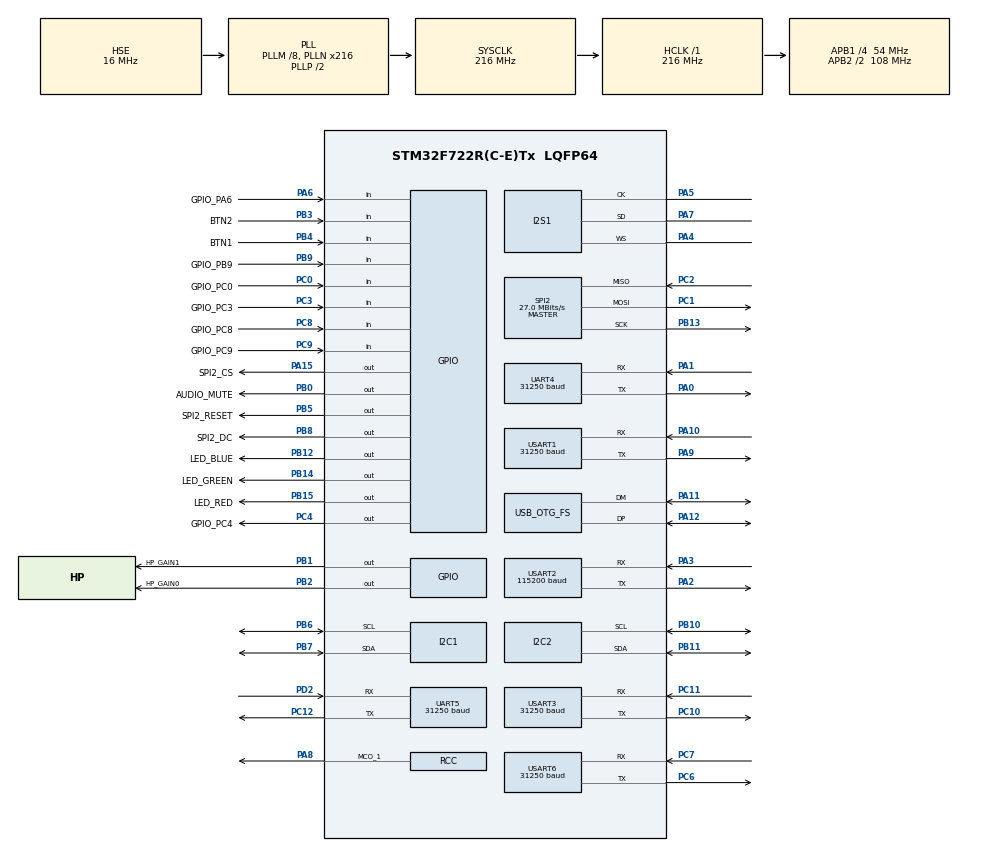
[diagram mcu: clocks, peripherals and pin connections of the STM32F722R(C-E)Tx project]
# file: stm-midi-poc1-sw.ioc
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CORTEX_M7.ART_ACCELERATOR_ENABLE=0
CORTEX_M7.AccessPermission_S-Cortex_Memory_Protection_Unit_Region1_Settings_S=MPU_REGION_FULL_ACCESS
CORTEX_M7.AccessPermission_S-Cortex_Memory_Protection_Unit_Region2_Settings_S=MPU_REGION_FULL_ACCESS
CORTEX_M7.AccessPermission_Spec=MPU_REGION_FULL_ACCESS
CORTEX_M7.BaseAddress_S-Cortex_Memory_Protection_Unit_Region1_Settings_S=0x08000000
CORTEX_M7.BaseAddress_S-Cortex_Memory_Protection_Unit_Region2_Settings_S=0x20030000
CORTEX_M7.BaseAddress_Spec=0x20000000
CORTEX_M7.CPU_DCache=Enabled
CORTEX_M7.CPU_ICache=Enabled
CORTEX_M7.DisableExec_S-Cortex_Memory_Protection_Unit_Region2_Settings_S=MPU_INSTRUCTION_ACCESS_DISABLE
CORTEX_M7.DisableExec_Spec=MPU_INSTRUCTION_ACCESS_ENABLE
CORTEX_M7.Enable_S-Cortex_Memory_Protection_Unit_Region1_Settings_S=MPU_REGION_ENABLE
CORTEX_M7.Enable_S-Cortex_Memory_Protection_Unit_Region2_Settings_S=MPU_REGION_ENABLE
CORTEX_M7.IsCacheable_S-Cortex_Memory_Protection_Unit_Region1_Settings_S=MPU_ACCESS_CACHEABLE
CORTEX_M7.IsCacheable_Spec=MPU_ACCESS_CACHEABLE
CORTEX_M7.MPU_Control=MPU_PRIVILEGED_DEFAULT
CORTEX_M7.PREFETCH_ENABLE=1
CORTEX_M7.Size_S-Cortex_Memory_Protection_Unit_Region1_Settings_S=MPU_REGION_SIZE_256MB
CORTEX_M7.Size_S-Cortex_Memory_Protection_Unit_Region2_Settings_S=MPU_REGION_SIZE_64KB
CORTEX_M7.Size_Spec=MPU_REGION_SIZE_512MB
CORTEX_M7.SubRegionDisable_Spec=0x00
CORTEX_M7.default_mode_Activation=1
Dma.Request0=SPI1_TX
Dma.Request1=SPI2_TX
Dma.Request2=USART2_RX
Dma.Request3=USART6_RX
Dma.Request4=USART2_TX
Dma.Request5=USART1_RX
Dma.Request6=USART1_TX
Dma.Request7=USART3_RX
Dma.Request8=USART3_TX
Dma.Request9=USART6_TX
Dma.SPI1_TX.0.Direction=DMA_MEMORY_TO_PERIPH
Dma.SPI1_TX.0.FIFOMode=DMA_FIFOMODE_DISABLE
Dma.SPI1_TX.0.Instance=DMA2_Stream3
Dma.SPI1_TX.0.MemDataAlignment=DMA_MDATAALIGN_HALFWORD
Dma.SPI1_TX.0.MemInc=DMA_MINC_ENABLE
Dma.SPI1_TX.0.Mode=DMA_CIRCULAR
Dma.SPI1_TX.0.PeriphDataAlignment=DMA_PDATAALIGN_HALFWORD
Dma.SPI1_TX.0.PeriphInc=DMA_PINC_DISABLE
Dma.SPI1_TX.0.Priority=DMA_PRIORITY_VERY_HIGH
Dma.SPI2_TX.1.Direction=DMA_MEMORY_TO_PERIPH
Dma.SPI2_TX.1.FIFOMode=DMA_FIFOMODE_DISABLE
Dma.SPI2_TX.1.Instance=DMA1_Stream4
Dma.SPI2_TX.1.MemDataAlignment=DMA_MDATAALIGN_BYTE
Dma.SPI2_TX.1.MemInc=DMA_MINC_ENABLE
Dma.SPI2_TX.1.Mode=DMA_NORMAL
Dma.SPI2_TX.1.PeriphDataAlignment=DMA_PDATAALIGN_BYTE
Dma.SPI2_TX.1.PeriphInc=DMA_PINC_DISABLE
Dma.SPI2_TX.1.Priority=DMA_PRIORITY_MEDIUM
Dma.USART1_RX.5.Direction=DMA_PERIPH_TO_MEMORY
Dma.USART1_RX.5.FIFOMode=DMA_FIFOMODE_DISABLE
Dma.USART1_RX.5.Instance=DMA2_Stream2
Dma.USART1_RX.5.MemDataAlignment=DMA_MDATAALIGN_BYTE
Dma.USART1_RX.5.MemInc=DMA_MINC_ENABLE
Dma.USART1_RX.5.Mode=DMA_CIRCULAR
Dma.USART1_RX.5.PeriphDataAlignment=DMA_PDATAALIGN_BYTE
Dma.USART1_RX.5.PeriphInc=DMA_PINC_DISABLE
Dma.USART1_RX.5.Priority=DMA_PRIORITY_MEDIUM
Dma.USART1_TX.6.Direction=DMA_MEMORY_TO_PERIPH
Dma.USART1_TX.6.FIFOMode=DMA_FIFOMODE_DISABLE
Dma.USART1_TX.6.Instance=DMA2_Stream7
Dma.USART1_TX.6.MemDataAlignment=DMA_MDATAALIGN_BYTE
Dma.USART1_TX.6.MemInc=DMA_MINC_ENABLE
Dma.USART1_TX.6.Mode=DMA_NORMAL
Dma.USART1_TX.6.PeriphDataAlignment=DMA_PDATAALIGN_BYTE
Dma.USART1_TX.6.PeriphInc=DMA_PINC_DISABLE
Dma.USART1_TX.6.Priority=DMA_PRIORITY_MEDIUM
Dma.USART2_RX.2.Direction=DMA_PERIPH_TO_MEMORY
Dma.USART2_RX.2.FIFOMode=DMA_FIFOMODE_DISABLE
Dma.USART2_RX.2.Instance=DMA1_Stream5
Dma.USART2_RX.2.MemDataAlignment=DMA_MDATAALIGN_BYTE
Dma.USART2_RX.2.MemInc=DMA_MINC_ENABLE
Dma.USART2_RX.2.Mode=DMA_CIRCULAR
Dma.USART2_RX.2.PeriphDataAlignment=DMA_PDATAALIGN_BYTE
Dma.USART2_RX.2.PeriphInc=DMA_PINC_DISABLE
Dma.USART2_RX.2.Priority=DMA_PRIORITY_LOW
Dma.USART2_TX.4.Direction=DMA_MEMORY_TO_PERIPH
Dma.USART2_TX.4.FIFOMode=DMA_FIFOMODE_DISABLE
Dma.USART2_TX.4.Instance=DMA1_Stream6
Dma.USART2_TX.4.MemDataAlignment=DMA_MDATAALIGN_BYTE
Dma.USART2_TX.4.MemInc=DMA_MINC_ENABLE
Dma.USART2_TX.4.Mode=DMA_NORMAL
Dma.USART2_TX.4.PeriphDataAlignment=DMA_PDATAALIGN_BYTE
Dma.USART2_TX.4.PeriphInc=DMA_PINC_DISABLE
Dma.USART2_TX.4.Priority=DMA_PRIORITY_LOW
Dma.USART3_RX.7.Direction=DMA_PERIPH_TO_MEMORY
Dma.USART3_RX.7.FIFOMode=DMA_FIFOMODE_DISABLE
Dma.USART3_RX.7.Instance=DMA1_Stream1
Dma.USART3_RX.7.MemDataAlignment=DMA_MDATAALIGN_BYTE
Dma.USART3_RX.7.MemInc=DMA_MINC_ENABLE
Dma.USART3_RX.7.Mode=DMA_CIRCULAR
Dma.USART3_RX.7.PeriphDataAlignment=DMA_PDATAALIGN_BYTE
Dma.USART3_RX.7.PeriphInc=DMA_PINC_DISABLE
Dma.USART3_RX.7.Priority=DMA_PRIORITY_MEDIUM
Dma.USART3_TX.8.Direction=DMA_MEMORY_TO_PERIPH
Dma.USART3_TX.8.FIFOMode=DMA_FIFOMODE_DISABLE
Dma.USART3_TX.8.Instance=DMA1_Stream3
Dma.USART3_TX.8.MemDataAlignment=DMA_MDATAALIGN_BYTE
Dma.USART3_TX.8.MemInc=DMA_MINC_ENABLE
Dma.USART3_TX.8.Mode=DMA_NORMAL
Dma.USART3_TX.8.PeriphDataAlignment=DMA_PDATAALIGN_BYTE
Dma.USART3_TX.8.PeriphInc=DMA_PINC_DISABLE
Dma.USART3_TX.8.Priority=DMA_PRIORITY_MEDIUM
Dma.USART6_RX.3.Direction=DMA_PERIPH_TO_MEMORY
Dma.USART6_RX.3.FIFOMode=DMA_FIFOMODE_DISABLE
Dma.USART6_RX.3.Instance=DMA2_Stream1
Dma.USART6_RX.3.MemDataAlignment=DMA_MDATAALIGN_BYTE
Dma.USART6_RX.3.MemInc=DMA_MINC_ENABLE
Dma.USART6_RX.3.Mode=DMA_CIRCULAR
Dma.USART6_RX.3.PeriphDataAlignment=DMA_PDATAALIGN_BYTE
Dma.USART6_RX.3.PeriphInc=DMA_PINC_DISABLE
Dma.USART6_RX.3.Priority=DMA_PRIORITY_LOW
Dma.USART6_TX.9.Direction=DMA_MEMORY_TO_PERIPH
Dma.USART6_TX.9.FIFOMode=DMA_FIFOMODE_DISABLE
Dma.USART6_TX.9.Instance=DMA2_Stream6
Dma.USART6_TX.9.MemDataAlignment=DMA_MDATAALIGN_BYTE
Dma.USART6_TX.9.MemInc=DMA_MINC_ENABLE
Dma.USART6_TX.9.Mode=DMA_NORMAL
Dma.USART6_TX.9.PeriphDataAlignment=DMA_PDATAALIGN_BYTE
Dma.USART6_TX.9.PeriphInc=DMA_PINC_DISABLE
Dma.USART6_TX.9.Priority=DMA_PRIORITY_LOW
I2C1.Timing=0x20404768
I2C2.Timing=0x20404768
I2S1.AudioFreq=I2S_AUDIOFREQ_32K
I2S1.DataFormat=I2S_DATAFORMAT_16B
I2S1.ErrorAudioFreq=-0.26 %
I2S1.FullDuplexMode=I2S_FULLDUPLEXMODE_DISABLE
I2S1.Instance=SPI$Index
I2S1.RealAudioFreq=31.914 KHz
I2S1.VirtualMode=I2S_MODE_MASTER
Mcu.Family=STM32F7
Mcu.Name=STM32F722R(C-E)Tx
Mcu.Package=LQFP64
NVIC.DMA1_Stream1_IRQn=true\:2\:0\:true\:false\:true\:false\:true\:true
NVIC.DMA1_Stream3_IRQn=true\:2\:0\:true\:false\:true\:false\:true\:true
NVIC.DMA1_Stream4_IRQn=true\:3\:0\:true\:false\:true\:false\:true\:true
NVIC.DMA1_Stream5_IRQn=true\:2\:0\:true\:false\:true\:false\:true\:true
NVIC.DMA1_Stream6_IRQn=true\:2\:0\:true\:false\:true\:false\:true\:true
NVIC.DMA2_Stream1_IRQn=true\:2\:0\:true\:false\:true\:false\:true\:true
NVIC.DMA2_Stream2_IRQn=true\:2\:0\:true\:false\:true\:false\:true\:true
NVIC.DMA2_Stream3_IRQn=true\:0\:0\:true\:false\:true\:false\:true\:true
NVIC.DMA2_Stream6_IRQn=true\:0\:0\:false\:false\:true\:false\:true\:true
NVIC.DMA2_Stream7_IRQn=true\:0\:0\:false\:false\:true\:false\:true\:true
NVIC.OTG_FS_IRQn=true\:0\:0\:false\:false\:true\:false\:true\:true
NVIC.PriorityGroup=NVIC_PRIORITYGROUP_4
NVIC.SPI2_IRQn=true\:3\:0\:true\:false\:true\:true\:true\:true
NVIC.TIM6_DAC_IRQn=true\:15\:0\:true\:false\:true\:false\:true\:true
NVIC.TimeBase=TIM6_DAC_IRQn
NVIC.TimeBaseIP=TIM6
NVIC.UART4_IRQn=true\:4\:0\:true\:false\:true\:true\:true\:true
NVIC.UART5_IRQn=true\:5\:0\:true\:false\:true\:true\:true\:true
PA0-WKUP.Mode=Asynchronous
PA0-WKUP.Signal=UART4_TX
PA1.Mode=Asynchronous
PA1.Signal=UART4_RX
PA10.Mode=Asynchronous
PA10.Signal=USART1_RX
PA11.Mode=Device_Only
PA11.Signal=USB_OTG_FS_DM
PA12.Mode=Device_Only
PA12.Signal=USB_OTG_FS_DP
PA13.Mode=Serial_Wire
PA13.Signal=SYS_JTMS-SWDIO
PA14.Mode=Serial_Wire
PA14.Signal=SYS_JTCK-SWCLK
PA15.GPIO_Label=SPI2_CS
PA15.GPIO_Speed=GPIO_SPEED_FREQ_LOW
PA15.Signal=GPIO_Output
PA2.Mode=Asynchronous
PA2.Signal=USART2_TX
PA3.Mode=Asynchronous
PA3.Signal=USART2_RX
PA4.Mode=Half_Duplex_Master
PA4.Signal=I2S1_WS
PA5.Mode=Half_Duplex_Master
PA5.Signal=I2S1_CK
PA6.GPIO_Label=GPIO_PA6
PA6.Signal=GPIO_Input
PA7.Mode=Half_Duplex_Master
PA7.Signal=I2S1_SD
PA8.Mode=Clock-out-1
PA8.Signal=RCC_MCO_1
PA9.Mode=Asynchronous
PA9.Signal=USART1_TX
PB0.GPIO_Label=AUDIO_MUTE
PB0.Signal=GPIO_Output
PB1.GPIO_Label=HP_GAIN1
PB1.Signal=GPIO_Output
PB10.Mode=I2C
PB10.Signal=I2C2_SCL
PB11.Mode=I2C
PB11.Signal=I2C2_SDA
PB12.GPIO_Label=LED_BLUE
PB12.Signal=GPIO_Output
PB13.Mode=Full_Duplex_Master
PB13.Signal=SPI2_SCK
PB14.GPIO_Label=LED_GREEN
PB14.Signal=GPIO_Output
PB15.GPIO_Label=LED_RED
PB15.Signal=GPIO_Output
PB2.GPIO_Label=HP_GAIN0
PB2.Signal=GPIO_Output
PB3.GPIO_Label=BTN2
PB3.Signal=GPIO_Input
PB4.GPIO_Label=BTN1
PB4.Signal=GPIO_Input
PB5.GPIO_Label=SPI2_RESET
PB5.GPIO_Speed=GPIO_SPEED_FREQ_LOW
PB5.Signal=GPIO_Output
PB6.Mode=I2C
PB6.Signal=I2C1_SCL
PB7.Mode=I2C
PB7.Signal=I2C1_SDA
PB8.GPIO_Label=SPI2_DC
PB8.GPIO_Speed=GPIO_SPEED_FREQ_LOW
PB8.Signal=GPIO_Output
PB9.GPIO_Label=GPIO_PB9
PB9.Signal=GPIO_Input
PC0.GPIO_Label=GPIO_PC0
PC0.Signal=GPIO_Input
PC1.Mode=Full_Duplex_Master
PC1.Signal=SPI2_MOSI
PC10.Mode=Asynchronous
PC10.Signal=USART3_TX
PC11.Mode=Asynchronous
PC11.Signal=USART3_RX
PC12.Mode=Asynchronous
PC12.Signal=UART5_TX
PC13.Mode=SYS_WakeUp3
PC13.Signal=SYS_WKUP4
PC14-OSC32_IN.Mode=LSE-External-Oscillator
PC14-OSC32_IN.Signal=RCC_OSC32_IN
PC15-OSC32_OUT.Mode=LSE-External-Oscillator
PC15-OSC32_OUT.Signal=RCC_OSC32_OUT
PC2.Mode=Full_Duplex_Master
PC2.Signal=SPI2_MISO
PC3.GPIO_Label=GPIO_PC3
PC3.Signal=GPIO_Input
PC4.GPIO_Label=GPIO_PC4
PC4.Signal=GPIO_Output
PC6.Mode=Asynchronous
PC6.Signal=USART6_TX
PC7.Mode=Asynchronous
PC7.Signal=USART6_RX
PC8.GPIO_Label=GPIO_PC8
PC8.Signal=GPIO_Input
PC9.GPIO_Label=GPIO_PC9
PC9.Signal=GPIO_Input
PD2.Mode=Asynchronous
PD2.Signal=UART5_RX
PH0-OSC_IN.Mode=HSE-External-Oscillator
PH0-OSC_IN.Signal=RCC_OSC_IN
PH1-OSC_OUT.Mode=HSE-External-Oscillator
PH1-OSC_OUT.Signal=RCC_OSC_OUT
ProjectManager.HeapSize=0x200
ProjectManager.StackSize=0x400
ProjectManager.TargetToolchain=STM32CubeIDE
RCC.AHBFreq_Value=216000000
RCC.APB1CLKDivider=RCC_HCLK_DIV4
RCC.APB1Freq_Value=54000000
RCC.APB1TimFreq_Value=108000000
RCC.APB2CLKDivider=RCC_HCLK_DIV2
RCC.APB2Freq_Value=108000000
RCC.APB2TimFreq_Value=216000000
RCC.CortexFreq_Value=216000000
RCC.HCLKFreq_Value=216000000
RCC.HSE_VALUE=16000000
RCC.HSI_VALUE=16000000
RCC.PLLM=8
RCC.PLLN=216
RCC.PLLQ=9
RCC.RTCClockSelection=RCC_RTCCLKSOURCE_LSE
RCC.SYSCLKFreq_VALUE=216000000
RCC.SYSCLKSource=RCC_SYSCLKSOURCE_PLLCLK
RCC.USBFreq_Value=48000000
RCC.VCOOutputFreq_Value=432000000
SPI2.BaudRatePrescaler=SPI_BAUDRATEPRESCALER_2
SPI2.CalculateBaudRate=27.0 MBits/s
SPI2.DataSize=SPI_DATASIZE_8BIT
SPI2.Direction=SPI_DIRECTION_2LINES
SPI2.Mode=SPI_MODE_MASTER
SPI2.NSSPMode=SPI_NSS_PULSE_ENABLE
SPI2.VirtualType=VM_MASTER
UART4.BaudRate=31250
UART5.BaudRate=31250
USART1.BaudRate=31250
USART1.DataInvertParam=ADVFEATURE_DATAINV_DISABLE
USART1.RxPinLevelInvertParam=ADVFEATURE_RXINV_DISABLE
USART1.SwapParam=ADVFEATURE_SWAP_DISABLE
USART1.TxPinLevelInvertParam=ADVFEATURE_TXINV_DISABLE
USART1.VirtualMode-Asynchronous=VM_ASYNC
USART2.BaudRate=115200
USART2.VirtualMode-Asynchronous=VM_ASYNC
USART3.BaudRate=31250
USART3.VirtualMode-Asynchronous=VM_ASYNC
USART6.BaudRate=31250
USART6.VirtualMode=VM_ASYNC
USB_DEVICE.CLASS_NAME_FS=HID
USB_DEVICE.USBD_SELF_POWERED-HID_FS=0
USB_DEVICE.VirtualMode-HID_FS=Hid
USB_DEVICE.VirtualModeFS=Hid_FS
USB_OTG_FS.VirtualMode=Device_Only
USB_OTG_FS.battery_charging_enable=DISABLE
USB_OTG_FS.low_power_enable=DISABLE
USB_OTG_FS.lpm_enable=DISABLE
VP_RTC_VS_RTC_Activate.Mode=RTC_Enabled
VP_SYS_VS_tim6.Mode=TIM6
VP_USB_DEVICE_VS_USB_DEVICE_HID_FS.Mode=HID_FS
board=custom

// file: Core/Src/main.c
/* USER CODE BEGIN Header */
/**
  ******************************************************************************
  * @file           : main.c
  * @brief          : Main program body
  ******************************************************************************
  * @attention
  *
  * Copyright (c) 2024 STMicroelectronics.
  * All rights reserved.
  *
  * This software is licensed under terms that can be found in the LICENSE file
  * in the root directory of this software component.
  * If no LICENSE file comes with this software, it is provided AS-IS.
  *
  ******************************************************************************
  */
/* USER CODE END Header */
#include "main.h"
#include "usb_device.h"

/* USER CODE BEGIN Includes */
#include "realmain.h"
#include "frmain.h"
#include "usbmain.h"
#include "spimain.h"
#include "spidma.h"

extern void uartrxdmamain(void);

/* USER CODE END Includes */

I2C_HandleTypeDef hi2c1;
I2C_HandleTypeDef hi2c2;

I2S_HandleTypeDef hi2s1;
DMA_HandleTypeDef hdma_spi1_tx;

RTC_HandleTypeDef hrtc;

SPI_HandleTypeDef hspi2;
DMA_HandleTypeDef hdma_spi2_tx;

/* USER CODE BEGIN PV */

// huart1 = MIDI 1
// huart2 = Serial Console

// Our SPI interface structure
spidma_config_t spi2tx;

/* USER CODE END PV */

void SystemClock_Config(void);
static void MPU_Config(void);
static void MX_GPIO_Init(void);
static void MX_DMA_Init(void);
static void MX_I2C2_Init(void);
static void MX_I2S1_Init(void);
static void MX_SPI2_Init(void);
static void MX_UART4_Init(void);
static void MX_UART5_Init(void);
static void MX_USART1_UART_Init(void);
static void MX_USART2_UART_Init(void);
static void MX_USART3_UART_Init(void);
static void MX_USART6_UART_Init(void);
static void MX_I2C1_Init(void);
static void MX_RTC_Init(void);

/* USER CODE BEGIN 0 */

void reinit_uarts() {
  MX_USART1_UART_Init();
  MX_USART2_UART_Init();
  MX_USART3_UART_Init();
  MX_USART6_UART_Init();
}

/* USER CODE END 0 */

int main(void)
{

  /* MPU Configuration--------------------------------------------------------*/
  MPU_Config();

  /* Enable the CPU Cache */

  /* Enable I-Cache---------------------------------------------------------*/
  SCB_EnableICache();

  /* Enable D-Cache---------------------------------------------------------*/
  SCB_EnableDCache();

  /* MCU Configuration--------------------------------------------------------*/

  /* Reset of all peripherals, Initializes the Flash interface and the Systick. */
  HAL_Init();

  /* Configure the system clock */
  SystemClock_Config();

  /* Initialize all configured peripherals */
  MX_GPIO_Init();
  MX_DMA_Init();
  MX_I2C2_Init();
  MX_I2S1_Init();
  MX_SPI2_Init();
  MX_UART4_Init();
  MX_UART5_Init();
  MX_USART1_UART_Init();
  MX_USART2_UART_Init();
  MX_USART3_UART_Init();
  MX_USART6_UART_Init();
  MX_I2C1_Init();
  MX_RTC_Init();
  MX_USB_DEVICE_Init();

  /* Infinite loop */
  /* USER CODE BEGIN WHILE */

#ifdef TEST_SPI
  spimain(); // Test SPI
#endif

#ifdef TEST_UARTRXDMARECEIVE
  uartrxdmamain();
#endif

  usbmain(); // USB testing
  frmain(); // FreeRTOS version (does not return)
  realmain(); // Leave pre-generated code and move to DPF's code

  while (1)
  {
    /* USER CODE END WHILE */

    /* USER CODE BEGIN 3 */
    // SMOKE TEST
    GPIO_PinState btn1, btn2;

    btn1 = HAL_GPIO_ReadPin(BTN1_GPIO_Port, BTN1_Pin);
    btn2 = HAL_GPIO_ReadPin(BTN2_GPIO_Port, BTN2_Pin);

    HAL_GPIO_TogglePin(LED_GREEN_GPIO_Port, LED_GREEN_Pin);
    if (btn1) {
      HAL_GPIO_TogglePin(LED_RED_GPIO_Port, LED_RED_Pin);
    }
    if (btn2) {
      // Blue LED was out of stock, so I got Yellow
      HAL_GPIO_TogglePin(LED_BLUE_GPIO_Port, LED_BLUE_Pin);
    }
    HAL_Delay(250);

  }
  /* USER CODE END 3 */
}

void SystemClock_Config(void)
{
  RCC_OscInitTypeDef RCC_OscInitStruct = {0};
  RCC_ClkInitTypeDef RCC_ClkInitStruct = {0};

  /** Configure LSE Drive Capability
  */
  HAL_PWR_EnableBkUpAccess();
  __HAL_RCC_LSEDRIVE_CONFIG(RCC_LSEDRIVE_LOW);

  /** Configure the main internal regulator output voltage
  */
  __HAL_RCC_PWR_CLK_ENABLE();
  __HAL_PWR_VOLTAGESCALING_CONFIG(PWR_REGULATOR_VOLTAGE_SCALE1);

  /** Initializes the RCC Oscillators according to the specified parameters
  * in the RCC_OscInitTypeDef structure.
  */
  RCC_OscInitStruct.OscillatorType = RCC_OSCILLATORTYPE_HSI|RCC_OSCILLATORTYPE_HSE
                              |RCC_OSCILLATORTYPE_LSE;
  RCC_OscInitStruct.HSEState = RCC_HSE_ON;
  RCC_OscInitStruct.LSEState = RCC_LSE_ON;
  RCC_OscInitStruct.HSIState = RCC_HSI_ON;
  RCC_OscInitStruct.HSICalibrationValue = RCC_HSICALIBRATION_DEFAULT;
  RCC_OscInitStruct.PLL.PLLState = RCC_PLL_ON;
  RCC_OscInitStruct.PLL.PLLSource = RCC_PLLSOURCE_HSE;
  RCC_OscInitStruct.PLL.PLLM = 8;
  RCC_OscInitStruct.PLL.PLLN = 216;
  RCC_OscInitStruct.PLL.PLLP = RCC_PLLP_DIV2;
  RCC_OscInitStruct.PLL.PLLQ = 9;
  if (HAL_RCC_OscConfig(&RCC_OscInitStruct) != HAL_OK)
  {
    Error_Handler();
  }

  /** Activate the Over-Drive mode
  */
  if (HAL_PWREx_EnableOverDrive() != HAL_OK)
  {
    Error_Handler();
  }

  /** Initializes the CPU, AHB and APB buses clocks
  */
  RCC_ClkInitStruct.ClockType = RCC_CLOCKTYPE_HCLK|RCC_CLOCKTYPE_SYSCLK
                              |RCC_CLOCKTYPE_PCLK1|RCC_CLOCKTYPE_PCLK2;
  RCC_ClkInitStruct.SYSCLKSource = RCC_SYSCLKSOURCE_PLLCLK;
  RCC_ClkInitStruct.AHBCLKDivider = RCC_SYSCLK_DIV1;
  RCC_ClkInitStruct.APB1CLKDivider = RCC_HCLK_DIV4;
  RCC_ClkInitStruct.APB2CLKDivider = RCC_HCLK_DIV2;

  if (HAL_RCC_ClockConfig(&RCC_ClkInitStruct, FLASH_LATENCY_7) != HAL_OK)
  {
    Error_Handler();
  }
  HAL_RCC_MCOConfig(RCC_MCO1, RCC_MCO1SOURCE_HSI, RCC_MCODIV_1);
}

static void MX_I2C1_Init(void)
{

  hi2c1.Instance = I2C1;
  hi2c1.Init.Timing = 0x20404768;
  hi2c1.Init.OwnAddress1 = 0;
  hi2c1.Init.AddressingMode = I2C_ADDRESSINGMODE_7BIT;
  hi2c1.Init.DualAddressMode = I2C_DUALADDRESS_DISABLE;
  hi2c1.Init.OwnAddress2 = 0;
  hi2c1.Init.OwnAddress2Masks = I2C_OA2_NOMASK;
  hi2c1.Init.GeneralCallMode = I2C_GENERALCALL_DISABLE;
  hi2c1.Init.NoStretchMode = I2C_NOSTRETCH_DISABLE;
  if (HAL_I2C_Init(&hi2c1) != HAL_OK)
  {
    Error_Handler();
  }

  /** Configure Analogue filter
  */
  if (HAL_I2CEx_ConfigAnalogFilter(&hi2c1, I2C_ANALOGFILTER_ENABLE) != HAL_OK)
  {
    Error_Handler();
  }

  /** Configure Digital filter
  */
  if (HAL_I2CEx_ConfigDigitalFilter(&hi2c1, 0) != HAL_OK)
  {
    Error_Handler();
  }

}

static void MX_I2C2_Init(void)
{

  hi2c2.Instance = I2C2;
  hi2c2.Init.Timing = 0x20404768;
  hi2c2.Init.OwnAddress1 = 0;
  hi2c2.Init.AddressingMode = I2C_ADDRESSINGMODE_7BIT;
  hi2c2.Init.DualAddressMode = I2C_DUALADDRESS_DISABLE;
  hi2c2.Init.OwnAddress2 = 0;
  hi2c2.Init.OwnAddress2Masks = I2C_OA2_NOMASK;
  hi2c2.Init.GeneralCallMode = I2C_GENERALCALL_DISABLE;
  hi2c2.Init.NoStretchMode = I2C_NOSTRETCH_DISABLE;
  if (HAL_I2C_Init(&hi2c2) != HAL_OK)
  {
    Error_Handler();
  }

  /** Configure Analogue filter
  */
  if (HAL_I2CEx_ConfigAnalogFilter(&hi2c2, I2C_ANALOGFILTER_ENABLE) != HAL_OK)
  {
    Error_Handler();
  }

  /** Configure Digital filter
  */
  if (HAL_I2CEx_ConfigDigitalFilter(&hi2c2, 0) != HAL_OK)
  {
    Error_Handler();
  }

}

static void MX_I2S1_Init(void)
{

  hi2s1.Instance = SPI1;
  hi2s1.Init.Mode = I2S_MODE_MASTER_TX;
  hi2s1.Init.Standard = I2S_STANDARD_PHILIPS;
  hi2s1.Init.DataFormat = I2S_DATAFORMAT_16B;
  hi2s1.Init.MCLKOutput = I2S_MCLKOUTPUT_DISABLE;
  hi2s1.Init.AudioFreq = I2S_AUDIOFREQ_32K;
  hi2s1.Init.CPOL = I2S_CPOL_LOW;
  hi2s1.Init.ClockSource = I2S_CLOCK_PLL;
  if (HAL_I2S_Init(&hi2s1) != HAL_OK)
  {
    Error_Handler();
  }

}

static void MX_RTC_Init(void)
{

  /** Initialize RTC Only
  */
  hrtc.Instance = RTC;
  hrtc.Init.HourFormat = RTC_HOURFORMAT_24;
  hrtc.Init.AsynchPrediv = 127;
  hrtc.Init.SynchPrediv = 255;
  hrtc.Init.OutPut = RTC_OUTPUT_DISABLE;
  hrtc.Init.OutPutPolarity = RTC_OUTPUT_POLARITY_HIGH;
  hrtc.Init.OutPutType = RTC_OUTPUT_TYPE_OPENDRAIN;
  if (HAL_RTC_Init(&hrtc) != HAL_OK)
  {
    Error_Handler();
  }

}

static void MX_SPI2_Init(void)
{

  /* SPI2 parameter configuration*/
  hspi2.Instance = SPI2;
  hspi2.Init.Mode = SPI_MODE_MASTER;
  hspi2.Init.Direction = SPI_DIRECTION_2LINES;
  hspi2.Init.DataSize = SPI_DATASIZE_8BIT;
  hspi2.Init.CLKPolarity = SPI_POLARITY_LOW;
  hspi2.Init.CLKPhase = SPI_PHASE_1EDGE;
  hspi2.Init.NSS = SPI_NSS_SOFT;
  hspi2.Init.BaudRatePrescaler = SPI_BAUDRATEPRESCALER_2;
  hspi2.Init.FirstBit = SPI_FIRSTBIT_MSB;
  hspi2.Init.TIMode = SPI_TIMODE_DISABLE;
  hspi2.Init.CRCCalculation = SPI_CRCCALCULATION_DISABLE;
  hspi2.Init.CRCPolynomial = 7;
  hspi2.Init.CRCLength = SPI_CRC_LENGTH_DATASIZE;
  hspi2.Init.NSSPMode = SPI_NSS_PULSE_ENABLE;
  if (HAL_SPI_Init(&hspi2) != HAL_OK)
  {
    Error_Handler();
  }

}

static void MX_UART4_Init(void)
{

  LL_USART_InitTypeDef USART_InitStruct = {0};

  LL_GPIO_InitTypeDef GPIO_InitStruct = {0};
  RCC_PeriphCLKInitTypeDef PeriphClkInitStruct = {0};

  /** Initializes the peripherals clock
  */
  PeriphClkInitStruct.PeriphClockSelection = RCC_PERIPHCLK_UART4;
  PeriphClkInitStruct.Uart4ClockSelection = RCC_UART4CLKSOURCE_PCLK1;
  if (HAL_RCCEx_PeriphCLKConfig(&PeriphClkInitStruct) != HAL_OK)
  {
    Error_Handler();
  }

  /* Peripheral clock enable */
  LL_APB1_GRP1_EnableClock(LL_APB1_GRP1_PERIPH_UART4);

  LL_AHB1_GRP1_EnableClock(LL_AHB1_GRP1_PERIPH_GPIOA);
  /**UART4 GPIO Configuration
  PA0-WKUP   ------> UART4_TX
  PA1   ------> UART4_RX
  */
  GPIO_InitStruct.Pin = LL_GPIO_PIN_0;
  GPIO_InitStruct.Mode = LL_GPIO_MODE_ALTERNATE;
  GPIO_InitStruct.Speed = LL_GPIO_SPEED_FREQ_VERY_HIGH;
  GPIO_InitStruct.OutputType = LL_GPIO_OUTPUT_PUSHPULL;
  GPIO_InitStruct.Pull = LL_GPIO_PULL_NO;
  GPIO_InitStruct.Alternate = LL_GPIO_AF_8;
  LL_GPIO_Init(GPIOA, &GPIO_InitStruct);

  GPIO_InitStruct.Pin = LL_GPIO_PIN_1;
  GPIO_InitStruct.Mode = LL_GPIO_MODE_ALTERNATE;
  GPIO_InitStruct.Speed = LL_GPIO_SPEED_FREQ_VERY_HIGH;
  GPIO_InitStruct.OutputType = LL_GPIO_OUTPUT_PUSHPULL;
  GPIO_InitStruct.Pull = LL_GPIO_PULL_NO;
  GPIO_InitStruct.Alternate = LL_GPIO_AF_8;
  LL_GPIO_Init(GPIOA, &GPIO_InitStruct);

  /* UART4 interrupt Init */
  NVIC_SetPriority(UART4_IRQn, NVIC_EncodePriority(NVIC_GetPriorityGrouping(),4, 0));
  NVIC_EnableIRQ(UART4_IRQn);

  USART_InitStruct.BaudRate = 31250;
  USART_InitStruct.DataWidth = LL_USART_DATAWIDTH_8B;
  USART_InitStruct.StopBits = LL_USART_STOPBITS_1;
  USART_InitStruct.Parity = LL_USART_PARITY_NONE;
  USART_InitStruct.TransferDirection = LL_USART_DIRECTION_TX_RX;
  USART_InitStruct.HardwareFlowControl = LL_USART_HWCONTROL_NONE;
  USART_InitStruct.OverSampling = LL_USART_OVERSAMPLING_16;
  LL_USART_Init(UART4, &USART_InitStruct);
  LL_USART_ConfigAsyncMode(UART4);
  LL_USART_Enable(UART4);

}

static void MX_UART5_Init(void)
{

  LL_USART_InitTypeDef USART_InitStruct = {0};

  LL_GPIO_InitTypeDef GPIO_InitStruct = {0};
  RCC_PeriphCLKInitTypeDef PeriphClkInitStruct = {0};

  /** Initializes the peripherals clock
  */
  PeriphClkInitStruct.PeriphClockSelection = RCC_PERIPHCLK_UART5;
  PeriphClkInitStruct.Uart5ClockSelection = RCC_UART5CLKSOURCE_PCLK1;
  if (HAL_RCCEx_PeriphCLKConfig(&PeriphClkInitStruct) != HAL_OK)
  {
    Error_Handler();
  }

  /* Peripheral clock enable */
  LL_APB1_GRP1_EnableClock(LL_APB1_GRP1_PERIPH_UART5);

  LL_AHB1_GRP1_EnableClock(LL_AHB1_GRP1_PERIPH_GPIOC);
  LL_AHB1_GRP1_EnableClock(LL_AHB1_GRP1_PERIPH_GPIOD);
  /**UART5 GPIO Configuration
  PC12   ------> UART5_TX
  PD2   ------> UART5_RX
  */
  GPIO_InitStruct.Pin = LL_GPIO_PIN_12;
  GPIO_InitStruct.Mode = LL_GPIO_MODE_ALTERNATE;
  GPIO_InitStruct.Speed = LL_GPIO_SPEED_FREQ_VERY_HIGH;
  GPIO_InitStruct.OutputType = LL_GPIO_OUTPUT_PUSHPULL;
  GPIO_InitStruct.Pull = LL_GPIO_PULL_NO;
  GPIO_InitStruct.Alternate = LL_GPIO_AF_8;
  LL_GPIO_Init(GPIOC, &GPIO_InitStruct);

  GPIO_InitStruct.Pin = LL_GPIO_PIN_2;
  GPIO_InitStruct.Mode = LL_GPIO_MODE_ALTERNATE;
  GPIO_InitStruct.Speed = LL_GPIO_SPEED_FREQ_VERY_HIGH;
  GPIO_InitStruct.OutputType = LL_GPIO_OUTPUT_PUSHPULL;
  GPIO_InitStruct.Pull = LL_GPIO_PULL_NO;
  GPIO_InitStruct.Alternate = LL_GPIO_AF_8;
  LL_GPIO_Init(GPIOD, &GPIO_InitStruct);

  /* UART5 interrupt Init */
  NVIC_SetPriority(UART5_IRQn, NVIC_EncodePriority(NVIC_GetPriorityGrouping(),5, 0));
  NVIC_EnableIRQ(UART5_IRQn);

  USART_InitStruct.BaudRate = 31250;
  USART_InitStruct.DataWidth = LL_USART_DATAWIDTH_8B;
  USART_InitStruct.StopBits = LL_USART_STOPBITS_1;
  USART_InitStruct.Parity = LL_USART_PARITY_NONE;
  USART_InitStruct.TransferDirection = LL_USART_DIRECTION_TX_RX;
  USART_InitStruct.HardwareFlowControl = LL_USART_HWCONTROL_NONE;
  USART_InitStruct.OverSampling = LL_USART_OVERSAMPLING_16;
  LL_USART_Init(UART5, &USART_InitStruct);
  LL_USART_ConfigAsyncMode(UART5);
  LL_USART_Enable(UART5);

}

static void MX_USART1_UART_Init(void)
{

  LL_USART_InitTypeDef USART_InitStruct = {0};

  LL_GPIO_InitTypeDef GPIO_InitStruct = {0};
  RCC_PeriphCLKInitTypeDef PeriphClkInitStruct = {0};

  /** Initializes the peripherals clock
  */
  PeriphClkInitStruct.PeriphClockSelection = RCC_PERIPHCLK_USART1;
  PeriphClkInitStruct.Usart1ClockSelection = RCC_USART1CLKSOURCE_PCLK2;
  if (HAL_RCCEx_PeriphCLKConfig(&PeriphClkInitStruct) != HAL_OK)
  {
    Error_Handler();
  }

  /* Peripheral clock enable */
  LL_APB2_GRP1_EnableClock(LL_APB2_GRP1_PERIPH_USART1);

  LL_AHB1_GRP1_EnableClock(LL_AHB1_GRP1_PERIPH_GPIOA);
  /**USART1 GPIO Configuration
  PA9   ------> USART1_TX
  PA10   ------> USART1_RX
  */
  GPIO_InitStruct.Pin = LL_GPIO_PIN_9;
  GPIO_InitStruct.Mode = LL_GPIO_MODE_ALTERNATE;
  GPIO_InitStruct.Speed = LL_GPIO_SPEED_FREQ_VERY_HIGH;
  GPIO_InitStruct.OutputType = LL_GPIO_OUTPUT_PUSHPULL;
  GPIO_InitStruct.Pull = LL_GPIO_PULL_NO;
  GPIO_InitStruct.Alternate = LL_GPIO_AF_7;
  LL_GPIO_Init(GPIOA, &GPIO_InitStruct);

  GPIO_InitStruct.Pin = LL_GPIO_PIN_10;
  GPIO_InitStruct.Mode = LL_GPIO_MODE_ALTERNATE;
  GPIO_InitStruct.Speed = LL_GPIO_SPEED_FREQ_VERY_HIGH;
  GPIO_InitStruct.OutputType = LL_GPIO_OUTPUT_PUSHPULL;
  GPIO_InitStruct.Pull = LL_GPIO_PULL_NO;
  GPIO_InitStruct.Alternate = LL_GPIO_AF_7;
  LL_GPIO_Init(GPIOA, &GPIO_InitStruct);

  /* USART1 DMA Init */

  /* USART1_RX Init */
  LL_DMA_SetChannelSelection(DMA2, LL_DMA_STREAM_2, LL_DMA_CHANNEL_4);

  LL_DMA_SetDataTransferDirection(DMA2, LL_DMA_STREAM_2, LL_DMA_DIRECTION_PERIPH_TO_MEMORY);

  LL_DMA_SetStreamPriorityLevel(DMA2, LL_DMA_STREAM_2, LL_DMA_PRIORITY_MEDIUM);

  LL_DMA_SetMode(DMA2, LL_DMA_STREAM_2, LL_DMA_MODE_CIRCULAR);

  LL_DMA_SetPeriphIncMode(DMA2, LL_DMA_STREAM_2, LL_DMA_PERIPH_NOINCREMENT);

  LL_DMA_SetMemoryIncMode(DMA2, LL_DMA_STREAM_2, LL_DMA_MEMORY_INCREMENT);

  LL_DMA_SetPeriphSize(DMA2, LL_DMA_STREAM_2, LL_DMA_PDATAALIGN_BYTE);

  LL_DMA_SetMemorySize(DMA2, LL_DMA_STREAM_2, LL_DMA_MDATAALIGN_BYTE);

  LL_DMA_DisableFifoMode(DMA2, LL_DMA_STREAM_2);

  /* USART1_TX Init */
  LL_DMA_SetChannelSelection(DMA2, LL_DMA_STREAM_7, LL_DMA_CHANNEL_4);

  LL_DMA_SetDataTransferDirection(DMA2, LL_DMA_STREAM_7, LL_DMA_DIRECTION_MEMORY_TO_PERIPH);

  LL_DMA_SetStreamPriorityLevel(DMA2, LL_DMA_STREAM_7, LL_DMA_PRIORITY_MEDIUM);

  LL_DMA_SetMode(DMA2, LL_DMA_STREAM_7, LL_DMA_MODE_NORMAL);

  LL_DMA_SetPeriphIncMode(DMA2, LL_DMA_STREAM_7, LL_DMA_PERIPH_NOINCREMENT);

  LL_DMA_SetMemoryIncMode(DMA2, LL_DMA_STREAM_7, LL_DMA_MEMORY_INCREMENT);

  LL_DMA_SetPeriphSize(DMA2, LL_DMA_STREAM_7, LL_DMA_PDATAALIGN_BYTE);

  LL_DMA_SetMemorySize(DMA2, LL_DMA_STREAM_7, LL_DMA_MDATAALIGN_BYTE);

  LL_DMA_DisableFifoMode(DMA2, LL_DMA_STREAM_7);

  USART_InitStruct.BaudRate = 31250;
  USART_InitStruct.DataWidth = LL_USART_DATAWIDTH_8B;
  USART_InitStruct.StopBits = LL_USART_STOPBITS_1;
  USART_InitStruct.Parity = LL_USART_PARITY_NONE;
  USART_InitStruct.TransferDirection = LL_USART_DIRECTION_TX_RX;
  USART_InitStruct.HardwareFlowControl = LL_USART_HWCONTROL_NONE;
  USART_InitStruct.OverSampling = LL_USART_OVERSAMPLING_16;
  LL_USART_Init(USART1, &USART_InitStruct);
  LL_USART_ConfigAsyncMode(USART1);
  LL_USART_Enable(USART1);

}

static void MX_USART2_UART_Init(void)
{

  LL_USART_InitTypeDef USART_InitStruct = {0};

  LL_GPIO_InitTypeDef GPIO_InitStruct = {0};
  RCC_PeriphCLKInitTypeDef PeriphClkInitStruct = {0};

  /** Initializes the peripherals clock
  */
  PeriphClkInitStruct.PeriphClockSelection = RCC_PERIPHCLK_USART2;
  PeriphClkInitStruct.Usart2ClockSelection = RCC_USART2CLKSOURCE_PCLK1;
  if (HAL_RCCEx_PeriphCLKConfig(&PeriphClkInitStruct) != HAL_OK)
  {
    Error_Handler();
  }

  /* Peripheral clock enable */
  LL_APB1_GRP1_EnableClock(LL_APB1_GRP1_PERIPH_USART2);

  LL_AHB1_GRP1_EnableClock(LL_AHB1_GRP1_PERIPH_GPIOA);
  /**USART2 GPIO Configuration
  PA2   ------> USART2_TX
  PA3   ------> USART2_RX
  */
  GPIO_InitStruct.Pin = LL_GPIO_PIN_2;
  GPIO_InitStruct.Mode = LL_GPIO_MODE_ALTERNATE;
  GPIO_InitStruct.Speed = LL_GPIO_SPEED_FREQ_VERY_HIGH;
  GPIO_InitStruct.OutputType = LL_GPIO_OUTPUT_PUSHPULL;
  GPIO_InitStruct.Pull = LL_GPIO_PULL_NO;
  GPIO_InitStruct.Alternate = LL_GPIO_AF_7;
  LL_GPIO_Init(GPIOA, &GPIO_InitStruct);

  GPIO_InitStruct.Pin = LL_GPIO_PIN_3;
  GPIO_InitStruct.Mode = LL_GPIO_MODE_ALTERNATE;
  GPIO_InitStruct.Speed = LL_GPIO_SPEED_FREQ_VERY_HIGH;
  GPIO_InitStruct.OutputType = LL_GPIO_OUTPUT_PUSHPULL;
  GPIO_InitStruct.Pull = LL_GPIO_PULL_NO;
  GPIO_InitStruct.Alternate = LL_GPIO_AF_7;
  LL_GPIO_Init(GPIOA, &GPIO_InitStruct);

  /* USART2 DMA Init */

  /* USART2_RX Init */
  LL_DMA_SetChannelSelection(DMA1, LL_DMA_STREAM_5, LL_DMA_CHANNEL_4);

  LL_DMA_SetDataTransferDirection(DMA1, LL_DMA_STREAM_5, LL_DMA_DIRECTION_PERIPH_TO_MEMORY);

  LL_DMA_SetStreamPriorityLevel(DMA1, LL_DMA_STREAM_5, LL_DMA_PRIORITY_LOW);

  LL_DMA_SetMode(DMA1, LL_DMA_STREAM_5, LL_DMA_MODE_CIRCULAR);

  LL_DMA_SetPeriphIncMode(DMA1, LL_DMA_STREAM_5, LL_DMA_PERIPH_NOINCREMENT);

  LL_DMA_SetMemoryIncMode(DMA1, LL_DMA_STREAM_5, LL_DMA_MEMORY_INCREMENT);

  LL_DMA_SetPeriphSize(DMA1, LL_DMA_STREAM_5, LL_DMA_PDATAALIGN_BYTE);

  LL_DMA_SetMemorySize(DMA1, LL_DMA_STREAM_5, LL_DMA_MDATAALIGN_BYTE);

  LL_DMA_DisableFifoMode(DMA1, LL_DMA_STREAM_5);

  /* USART2_TX Init */
  LL_DMA_SetChannelSelection(DMA1, LL_DMA_STREAM_6, LL_DMA_CHANNEL_4);

  LL_DMA_SetDataTransferDirection(DMA1, LL_DMA_STREAM_6, LL_DMA_DIRECTION_MEMORY_TO_PERIPH);

  LL_DMA_SetStreamPriorityLevel(DMA1, LL_DMA_STREAM_6, LL_DMA_PRIORITY_LOW);

  LL_DMA_SetMode(DMA1, LL_DMA_STREAM_6, LL_DMA_MODE_NORMAL);

  LL_DMA_SetPeriphIncMode(DMA1, LL_DMA_STREAM_6, LL_DMA_PERIPH_NOINCREMENT);

  LL_DMA_SetMemoryIncMode(DMA1, LL_DMA_STREAM_6, LL_DMA_MEMORY_INCREMENT);

  LL_DMA_SetPeriphSize(DMA1, LL_DMA_STREAM_6, LL_DMA_PDATAALIGN_BYTE);

  LL_DMA_SetMemorySize(DMA1, LL_DMA_STREAM_6, LL_DMA_MDATAALIGN_BYTE);

  LL_DMA_DisableFifoMode(DMA1, LL_DMA_STREAM_6);

  USART_InitStruct.BaudRate = 115200;
  USART_InitStruct.DataWidth = LL_USART_DATAWIDTH_8B;
  USART_InitStruct.StopBits = LL_USART_STOPBITS_1;
  USART_InitStruct.Parity = LL_USART_PARITY_NONE;
  USART_InitStruct.TransferDirection = LL_USART_DIRECTION_TX_RX;
  USART_InitStruct.HardwareFlowControl = LL_USART_HWCONTROL_NONE;
  USART_InitStruct.OverSampling = LL_USART_OVERSAMPLING_16;
  LL_USART_Init(USART2, &USART_InitStruct);
  LL_USART_ConfigAsyncMode(USART2);
  LL_USART_Enable(USART2);

}

static void MX_USART3_UART_Init(void)
{

  LL_USART_InitTypeDef USART_InitStruct = {0};

  LL_GPIO_InitTypeDef GPIO_InitStruct = {0};
  RCC_PeriphCLKInitTypeDef PeriphClkInitStruct = {0};

  /** Initializes the peripherals clock
  */
  PeriphClkInitStruct.PeriphClockSelection = RCC_PERIPHCLK_USART3;
  PeriphClkInitStruct.Usart3ClockSelection = RCC_USART3CLKSOURCE_PCLK1;
  if (HAL_RCCEx_PeriphCLKConfig(&PeriphClkInitStruct) != HAL_OK)
  {
    Error_Handler();
  }

  /* Peripheral clock enable */
  LL_APB1_GRP1_EnableClock(LL_APB1_GRP1_PERIPH_USART3);

  LL_AHB1_GRP1_EnableClock(LL_AHB1_GRP1_PERIPH_GPIOC);
  /**USART3 GPIO Configuration
  PC10   ------> USART3_TX
  PC11   ------> USART3_RX
  */
  GPIO_InitStruct.Pin = LL_GPIO_PIN_10;
  GPIO_InitStruct.Mode = LL_GPIO_MODE_ALTERNATE;
  GPIO_InitStruct.Speed = LL_GPIO_SPEED_FREQ_VERY_HIGH;
  GPIO_InitStruct.OutputType = LL_GPIO_OUTPUT_PUSHPULL;
  GPIO_InitStruct.Pull = LL_GPIO_PULL_NO;
  GPIO_InitStruct.Alternate = LL_GPIO_AF_7;
  LL_GPIO_Init(GPIOC, &GPIO_InitStruct);

  GPIO_InitStruct.Pin = LL_GPIO_PIN_11;
  GPIO_InitStruct.Mode = LL_GPIO_MODE_ALTERNATE;
  GPIO_InitStruct.Speed = LL_GPIO_SPEED_FREQ_VERY_HIGH;
  GPIO_InitStruct.OutputType = LL_GPIO_OUTPUT_PUSHPULL;
  GPIO_InitStruct.Pull = LL_GPIO_PULL_NO;
  GPIO_InitStruct.Alternate = LL_GPIO_AF_7;
  LL_GPIO_Init(GPIOC, &GPIO_InitStruct);

  /* USART3 DMA Init */

  /* USART3_RX Init */
  LL_DMA_SetChannelSelection(DMA1, LL_DMA_STREAM_1, LL_DMA_CHANNEL_4);

  LL_DMA_SetDataTransferDirection(DMA1, LL_DMA_STREAM_1, LL_DMA_DIRECTION_PERIPH_TO_MEMORY);

  LL_DMA_SetStreamPriorityLevel(DMA1, LL_DMA_STREAM_1, LL_DMA_PRIORITY_MEDIUM);

  LL_DMA_SetMode(DMA1, LL_DMA_STREAM_1, LL_DMA_MODE_CIRCULAR);

  LL_DMA_SetPeriphIncMode(DMA1, LL_DMA_STREAM_1, LL_DMA_PERIPH_NOINCREMENT);

  LL_DMA_SetMemoryIncMode(DMA1, LL_DMA_STREAM_1, LL_DMA_MEMORY_INCREMENT);

  LL_DMA_SetPeriphSize(DMA1, LL_DMA_STREAM_1, LL_DMA_PDATAALIGN_BYTE);

  LL_DMA_SetMemorySize(DMA1, LL_DMA_STREAM_1, LL_DMA_MDATAALIGN_BYTE);

  LL_DMA_DisableFifoMode(DMA1, LL_DMA_STREAM_1);

  /* USART3_TX Init */
  LL_DMA_SetChannelSelection(DMA1, LL_DMA_STREAM_3, LL_DMA_CHANNEL_4);

  LL_DMA_SetDataTransferDirection(DMA1, LL_DMA_STREAM_3, LL_DMA_DIRECTION_MEMORY_TO_PERIPH);

  LL_DMA_SetStreamPriorityLevel(DMA1, LL_DMA_STREAM_3, LL_DMA_PRIORITY_MEDIUM);

  LL_DMA_SetMode(DMA1, LL_DMA_STREAM_3, LL_DMA_MODE_NORMAL);

  LL_DMA_SetPeriphIncMode(DMA1, LL_DMA_STREAM_3, LL_DMA_PERIPH_NOINCREMENT);

  LL_DMA_SetMemoryIncMode(DMA1, LL_DMA_STREAM_3, LL_DMA_MEMORY_INCREMENT);

  LL_DMA_SetPeriphSize(DMA1, LL_DMA_STREAM_3, LL_DMA_PDATAALIGN_BYTE);

  LL_DMA_SetMemorySize(DMA1, LL_DMA_STREAM_3, LL_DMA_MDATAALIGN_BYTE);

  LL_DMA_DisableFifoMode(DMA1, LL_DMA_STREAM_3);

  USART_InitStruct.BaudRate = 31250;
  USART_InitStruct.DataWidth = LL_USART_DATAWIDTH_8B;
  USART_InitStruct.StopBits = LL_USART_STOPBITS_1;
  USART_InitStruct.Parity = LL_USART_PARITY_NONE;
  USART_InitStruct.TransferDirection = LL_USART_DIRECTION_TX_RX;
  USART_InitStruct.HardwareFlowControl = LL_USART_HWCONTROL_NONE;
  USART_InitStruct.OverSampling = LL_USART_OVERSAMPLING_16;
  LL_USART_Init(USART3, &USART_InitStruct);
  LL_USART_ConfigAsyncMode(USART3);
  LL_USART_Enable(USART3);

}

static void MX_USART6_UART_Init(void)
{

  LL_USART_InitTypeDef USART_InitStruct = {0};

  LL_GPIO_InitTypeDef GPIO_InitStruct = {0};
  RCC_PeriphCLKInitTypeDef PeriphClkInitStruct = {0};

  /** Initializes the peripherals clock
  */
  PeriphClkInitStruct.PeriphClockSelection = RCC_PERIPHCLK_USART6;
  PeriphClkInitStruct.Usart6ClockSelection = RCC_USART6CLKSOURCE_PCLK2;
  if (HAL_RCCEx_PeriphCLKConfig(&PeriphClkInitStruct) != HAL_OK)
  {
    Error_Handler();
  }

  /* Peripheral clock enable */
  LL_APB2_GRP1_EnableClock(LL_APB2_GRP1_PERIPH_USART6);

  LL_AHB1_GRP1_EnableClock(LL_AHB1_GRP1_PERIPH_GPIOC);
  /**USART6 GPIO Configuration
  PC6   ------> USART6_TX
  PC7   ------> USART6_RX
  */
  GPIO_InitStruct.Pin = LL_GPIO_PIN_6;
  GPIO_InitStruct.Mode = LL_GPIO_MODE_ALTERNATE;
  GPIO_InitStruct.Speed = LL_GPIO_SPEED_FREQ_VERY_HIGH;
  GPIO_InitStruct.OutputType = LL_GPIO_OUTPUT_PUSHPULL;
  GPIO_InitStruct.Pull = LL_GPIO_PULL_NO;
  GPIO_InitStruct.Alternate = LL_GPIO_AF_8;
  LL_GPIO_Init(GPIOC, &GPIO_InitStruct);

  GPIO_InitStruct.Pin = LL_GPIO_PIN_7;
  GPIO_InitStruct.Mode = LL_GPIO_MODE_ALTERNATE;
  GPIO_InitStruct.Speed = LL_GPIO_SPEED_FREQ_VERY_HIGH;
  GPIO_InitStruct.OutputType = LL_GPIO_OUTPUT_PUSHPULL;
  GPIO_InitStruct.Pull = LL_GPIO_PULL_NO;
  GPIO_InitStruct.Alternate = LL_GPIO_AF_8;
  LL_GPIO_Init(GPIOC, &GPIO_InitStruct);

  /* USART6 DMA Init */

  /* USART6_RX Init */
  LL_DMA_SetChannelSelection(DMA2, LL_DMA_STREAM_1, LL_DMA_CHANNEL_5);

  LL_DMA_SetDataTransferDirection(DMA2, LL_DMA_STREAM_1, LL_DMA_DIRECTION_PERIPH_TO_MEMORY);

  LL_DMA_SetStreamPriorityLevel(DMA2, LL_DMA_STREAM_1, LL_DMA_PRIORITY_LOW);

  LL_DMA_SetMode(DMA2, LL_DMA_STREAM_1, LL_DMA_MODE_CIRCULAR);

  LL_DMA_SetPeriphIncMode(DMA2, LL_DMA_STREAM_1, LL_DMA_PERIPH_NOINCREMENT);

  LL_DMA_SetMemoryIncMode(DMA2, LL_DMA_STREAM_1, LL_DMA_MEMORY_INCREMENT);

  LL_DMA_SetPeriphSize(DMA2, LL_DMA_STREAM_1, LL_DMA_PDATAALIGN_BYTE);

  LL_DMA_SetMemorySize(DMA2, LL_DMA_STREAM_1, LL_DMA_MDATAALIGN_BYTE);

  LL_DMA_DisableFifoMode(DMA2, LL_DMA_STREAM_1);

  /* USART6_TX Init */
  LL_DMA_SetChannelSelection(DMA2, LL_DMA_STREAM_6, LL_DMA_CHANNEL_5);

  LL_DMA_SetDataTransferDirection(DMA2, LL_DMA_STREAM_6, LL_DMA_DIRECTION_MEMORY_TO_PERIPH);

  LL_DMA_SetStreamPriorityLevel(DMA2, LL_DMA_STREAM_6, LL_DMA_PRIORITY_LOW);

  LL_DMA_SetMode(DMA2, LL_DMA_STREAM_6, LL_DMA_MODE_NORMAL);

  LL_DMA_SetPeriphIncMode(DMA2, LL_DMA_STREAM_6, LL_DMA_PERIPH_NOINCREMENT);

  LL_DMA_SetMemoryIncMode(DMA2, LL_DMA_STREAM_6, LL_DMA_MEMORY_INCREMENT);

  LL_DMA_SetPeriphSize(DMA2, LL_DMA_STREAM_6, LL_DMA_PDATAALIGN_BYTE);

  LL_DMA_SetMemorySize(DMA2, LL_DMA_STREAM_6, LL_DMA_MDATAALIGN_BYTE);

  LL_DMA_DisableFifoMode(DMA2, LL_DMA_STREAM_6);

  USART_InitStruct.BaudRate = 31250;
  USART_InitStruct.DataWidth = LL_USART_DATAWIDTH_8B;
  USART_InitStruct.StopBits = LL_USART_STOPBITS_1;
  USART_InitStruct.Parity = LL_USART_PARITY_NONE;
  USART_InitStruct.TransferDirection = LL_USART_DIRECTION_TX_RX;
  USART_InitStruct.HardwareFlowControl = LL_USART_HWCONTROL_NONE;
  USART_InitStruct.OverSampling = LL_USART_OVERSAMPLING_16;
  LL_USART_Init(USART6, &USART_InitStruct);
  LL_USART_ConfigAsyncMode(USART6);
  LL_USART_Enable(USART6);

}

static void MX_DMA_Init(void)
{

  /* DMA controller clock enable */
  __HAL_RCC_DMA2_CLK_ENABLE();
  __HAL_RCC_DMA1_CLK_ENABLE();

  /* DMA interrupt init */
  /* DMA1_Stream1_IRQn interrupt configuration */
  NVIC_SetPriority(DMA1_Stream1_IRQn, NVIC_EncodePriority(NVIC_GetPriorityGrouping(),2, 0));
  NVIC_EnableIRQ(DMA1_Stream1_IRQn);
  /* DMA1_Stream3_IRQn interrupt configuration */
  NVIC_SetPriority(DMA1_Stream3_IRQn, NVIC_EncodePriority(NVIC_GetPriorityGrouping(),2, 0));
  NVIC_EnableIRQ(DMA1_Stream3_IRQn);
  /* DMA1_Stream4_IRQn interrupt configuration */
  HAL_NVIC_SetPriority(DMA1_Stream4_IRQn, 3, 0);
  HAL_NVIC_EnableIRQ(DMA1_Stream4_IRQn);
  /* DMA1_Stream5_IRQn interrupt configuration */
  NVIC_SetPriority(DMA1_Stream5_IRQn, NVIC_EncodePriority(NVIC_GetPriorityGrouping(),2, 0));
  NVIC_EnableIRQ(DMA1_Stream5_IRQn);
  /* DMA1_Stream6_IRQn interrupt configuration */
  NVIC_SetPriority(DMA1_Stream6_IRQn, NVIC_EncodePriority(NVIC_GetPriorityGrouping(),2, 0));
  NVIC_EnableIRQ(DMA1_Stream6_IRQn);
  /* DMA2_Stream1_IRQn interrupt configuration */
  NVIC_SetPriority(DMA2_Stream1_IRQn, NVIC_EncodePriority(NVIC_GetPriorityGrouping(),2, 0));
  NVIC_EnableIRQ(DMA2_Stream1_IRQn);
  /* DMA2_Stream2_IRQn interrupt configuration */
  NVIC_SetPriority(DMA2_Stream2_IRQn, NVIC_EncodePriority(NVIC_GetPriorityGrouping(),2, 0));
  NVIC_EnableIRQ(DMA2_Stream2_IRQn);
  /* DMA2_Stream3_IRQn interrupt configuration */
  HAL_NVIC_SetPriority(DMA2_Stream3_IRQn, 0, 0);
  HAL_NVIC_EnableIRQ(DMA2_Stream3_IRQn);
  /* DMA2_Stream6_IRQn interrupt configuration */
  NVIC_SetPriority(DMA2_Stream6_IRQn, NVIC_EncodePriority(NVIC_GetPriorityGrouping(),0, 0));
  NVIC_EnableIRQ(DMA2_Stream6_IRQn);
  /* DMA2_Stream7_IRQn interrupt configuration */
  NVIC_SetPriority(DMA2_Stream7_IRQn, NVIC_EncodePriority(NVIC_GetPriorityGrouping(),0, 0));
  NVIC_EnableIRQ(DMA2_Stream7_IRQn);

}

static void MX_GPIO_Init(void)
{
  GPIO_InitTypeDef GPIO_InitStruct = {0};

  /* GPIO Ports Clock Enable */
  __HAL_RCC_GPIOC_CLK_ENABLE();
  __HAL_RCC_GPIOH_CLK_ENABLE();
  __HAL_RCC_GPIOA_CLK_ENABLE();
  __HAL_RCC_GPIOB_CLK_ENABLE();
  __HAL_RCC_GPIOD_CLK_ENABLE();

  /*Configure GPIO pin Output Level */
  HAL_GPIO_WritePin(GPIO_PC4_GPIO_Port, GPIO_PC4_Pin, GPIO_PIN_RESET);

  /*Configure GPIO pin Output Level */
  HAL_GPIO_WritePin(GPIOB, AUDIO_MUTE_Pin|HP_GAIN1_Pin|HP_GAIN0_Pin|LED_BLUE_Pin
                          |LED_GREEN_Pin|LED_RED_Pin|SPI2_RESET_Pin|SPI2_DC_Pin, GPIO_PIN_RESET);

  /*Configure GPIO pin Output Level */
  HAL_GPIO_WritePin(SPI2_CS_GPIO_Port, SPI2_CS_Pin, GPIO_PIN_RESET);

  /*Configure GPIO pins : GPIO_PC0_Pin GPIO_PC3_Pin GPIO_PC8_Pin GPIO_PC9_Pin */
  GPIO_InitStruct.Pin = GPIO_PC0_Pin|GPIO_PC3_Pin|GPIO_PC8_Pin|GPIO_PC9_Pin;
  GPIO_InitStruct.Mode = GPIO_MODE_INPUT;
  GPIO_InitStruct.Pull = GPIO_NOPULL;
  HAL_GPIO_Init(GPIOC, &GPIO_InitStruct);

  /*Configure GPIO pin : GPIO_PA6_Pin */
  GPIO_InitStruct.Pin = GPIO_PA6_Pin;
  GPIO_InitStruct.Mode = GPIO_MODE_INPUT;
  GPIO_InitStruct.Pull = GPIO_NOPULL;
  HAL_GPIO_Init(GPIO_PA6_GPIO_Port, &GPIO_InitStruct);

  /*Configure GPIO pin : GPIO_PC4_Pin */
  GPIO_InitStruct.Pin = GPIO_PC4_Pin;
  GPIO_InitStruct.Mode = GPIO_MODE_OUTPUT_PP;
  GPIO_InitStruct.Pull = GPIO_NOPULL;
  GPIO_InitStruct.Speed = GPIO_SPEED_FREQ_LOW;
  HAL_GPIO_Init(GPIO_PC4_GPIO_Port, &GPIO_InitStruct);

  /*Configure GPIO pins : AUDIO_MUTE_Pin HP_GAIN1_Pin HP_GAIN0_Pin LED_BLUE_Pin
                           LED_GREEN_Pin LED_RED_Pin SPI2_RESET_Pin SPI2_DC_Pin */
  GPIO_InitStruct.Pin = AUDIO_MUTE_Pin|HP_GAIN1_Pin|HP_GAIN0_Pin|LED_BLUE_Pin
                          |LED_GREEN_Pin|LED_RED_Pin|SPI2_RESET_Pin|SPI2_DC_Pin;
  GPIO_InitStruct.Mode = GPIO_MODE_OUTPUT_PP;
  GPIO_InitStruct.Pull = GPIO_NOPULL;
  GPIO_InitStruct.Speed = GPIO_SPEED_FREQ_LOW;
  HAL_GPIO_Init(GPIOB, &GPIO_InitStruct);

  /*Configure GPIO pin : PA8 */
  GPIO_InitStruct.Pin = GPIO_PIN_8;
  GPIO_InitStruct.Mode = GPIO_MODE_AF_PP;
  GPIO_InitStruct.Pull = GPIO_NOPULL;
  GPIO_InitStruct.Speed = GPIO_SPEED_FREQ_LOW;
  GPIO_InitStruct.Alternate = GPIO_AF0_MCO;
  HAL_GPIO_Init(GPIOA, &GPIO_InitStruct);

  /*Configure GPIO pin : SPI2_CS_Pin */
  GPIO_InitStruct.Pin = SPI2_CS_Pin;
  GPIO_InitStruct.Mode = GPIO_MODE_OUTPUT_PP;
  GPIO_InitStruct.Pull = GPIO_NOPULL;
  GPIO_InitStruct.Speed = GPIO_SPEED_FREQ_LOW;
  HAL_GPIO_Init(SPI2_CS_GPIO_Port, &GPIO_InitStruct);

  /*Configure GPIO pins : BTN2_Pin BTN1_Pin GPIO_PB9_Pin */
  GPIO_InitStruct.Pin = BTN2_Pin|BTN1_Pin|GPIO_PB9_Pin;
  GPIO_InitStruct.Mode = GPIO_MODE_INPUT;
  GPIO_InitStruct.Pull = GPIO_NOPULL;
  HAL_GPIO_Init(GPIOB, &GPIO_InitStruct);

}

 /* MPU Configuration */

void MPU_Config(void)
{
  MPU_Region_InitTypeDef MPU_InitStruct = {0};

  /* Disables the MPU */
  HAL_MPU_Disable();

  /** Initializes and configures the Region and the memory to be protected
  */
  MPU_InitStruct.Enable = MPU_REGION_ENABLE;
  MPU_InitStruct.Number = MPU_REGION_NUMBER0;
  MPU_InitStruct.BaseAddress = 0x20000000;
  MPU_InitStruct.Size = MPU_REGION_SIZE_512MB;
  MPU_InitStruct.SubRegionDisable = 0x00;
  MPU_InitStruct.TypeExtField = MPU_TEX_LEVEL0;
  MPU_InitStruct.AccessPermission = MPU_REGION_FULL_ACCESS;
  MPU_InitStruct.DisableExec = MPU_INSTRUCTION_ACCESS_ENABLE;
  MPU_InitStruct.IsShareable = MPU_ACCESS_SHAREABLE;
  MPU_InitStruct.IsCacheable = MPU_ACCESS_CACHEABLE;
  MPU_InitStruct.IsBufferable = MPU_ACCESS_NOT_BUFFERABLE;

  HAL_MPU_ConfigRegion(&MPU_InitStruct);

  /** Initializes and configures the Region and the memory to be protected
  */
  MPU_InitStruct.Number = MPU_REGION_NUMBER1;
  MPU_InitStruct.BaseAddress = 0x08000000;
  MPU_InitStruct.Size = MPU_REGION_SIZE_256MB;
  MPU_InitStruct.SubRegionDisable = 0x0;
  MPU_InitStruct.IsShareable = MPU_ACCESS_NOT_SHAREABLE;

  HAL_MPU_ConfigRegion(&MPU_InitStruct);

  /** Initializes and configures the Region and the memory to be protected
  */
  MPU_InitStruct.Number = MPU_REGION_NUMBER2;
  MPU_InitStruct.BaseAddress = 0x20030000;
  MPU_InitStruct.Size = MPU_REGION_SIZE_64KB;
  MPU_InitStruct.DisableExec = MPU_INSTRUCTION_ACCESS_DISABLE;
  MPU_InitStruct.IsCacheable = MPU_ACCESS_NOT_CACHEABLE;

  HAL_MPU_ConfigRegion(&MPU_InitStruct);
  /* Enables the MPU */
  HAL_MPU_Enable(MPU_PRIVILEGED_DEFAULT);

}

void HAL_TIM_PeriodElapsedCallback(TIM_HandleTypeDef *htim)
{
  if (htim->Instance == TIM6)
  {
    HAL_IncTick();
  }
}

void Error_Handler(void)
{
  __disable_irq();
  while (1)
  {
  }
}
